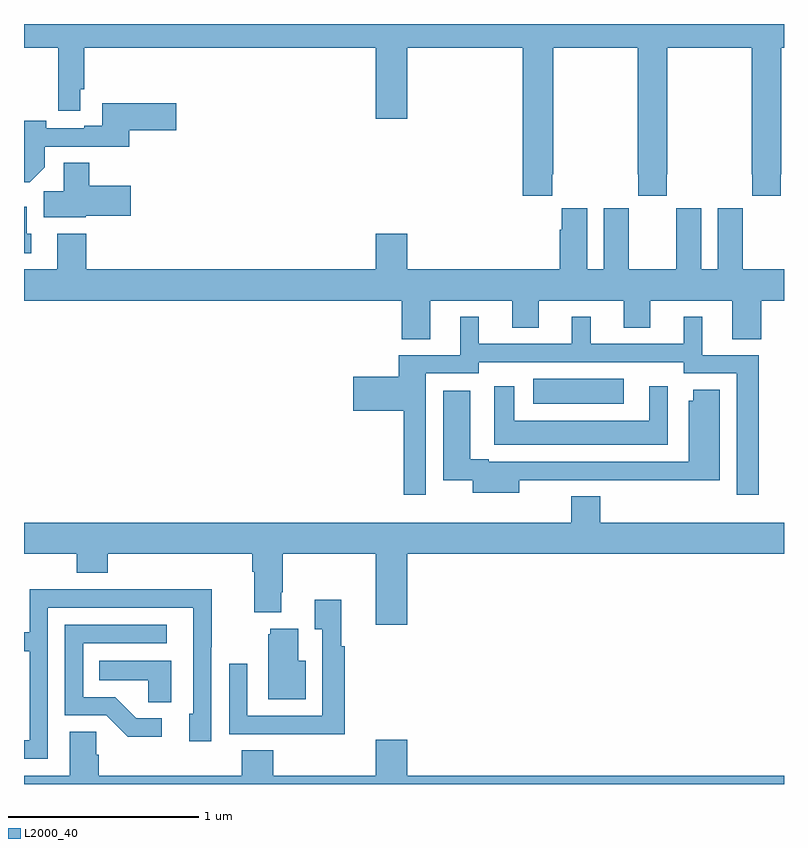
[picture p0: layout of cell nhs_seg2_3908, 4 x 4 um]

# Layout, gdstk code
import gdstk
lib = gdstk.Library(unit=1e-6, precision=1e-09)
def R(c, l, rs):  # rectangles x0, y0, x1, y1
    for r in rs: c.add(gdstk.rectangle(r[:2], r[2:], *l))
def P(c, l, *ps):  # polygons
    for p in ps: c.add(gdstk.Polygon(p, *l))
L2000_40 = (2000, 40)

nhs_seg2_3908 = lib.new_cell('nhs_seg2_3908')
R(nhs_seg2_3908, L2000_40, [(321.681,605.801,322.156,605.932)])
P(nhs_seg2_3908, L2000_40, [(321.779,607.009),(321.786,607.009),(321.786,607.676),(322.231,607.676),(322.231,607.009),(322.233,607.009),(322.233,606.897),(322.383,606.897),(322.383,607.009),(322.386,607.009),(322.386,607.676),(322.831,607.676),(322.831,607.009),(322.833,607.009),(322.833,606.897),(322.983,606.897),(322.983,607.009),(322.986,607.009),(322.986,607.676),(323,607.676),(323,607.8),(319,607.8),(319,607.676),(319.18,607.676),(319.18,607.344),(319.296,607.344),(319.296,607.456),(319.316,607.456),(319.316,607.676),(320.852,607.676),(320.852,607.302),(321.016,607.302),(321.016,607.676),(321.626,607.676),(321.626,606.897),(321.779,606.897)],
  [(319.108,607.046),(319.108,607.155),(319.553,607.155),(319.553,607.241),(319.801,607.241),(319.801,607.383),(319.412,607.383),(319.412,607.264),(319.316,607.264),(319.316,607.251),(319.116,607.251),(319.116,607.29),(319,607.29),(319,606.968),(319.03,606.968)],
  [(319.326,606.791),(319.561,606.791),(319.561,606.949),(319.343,606.949),(319.343,607.069),(319.208,607.069),(319.208,606.92),(319.103,606.92),(319.103,606.782),(319.326,606.782)],
  [(319.039,606.696),(319.015,606.696),(319.015,606.838),(319,606.838),(319,606.594),(319.039,606.594)],
  [(321.016,606.697),(320.852,606.697),(320.852,606.508),(319.328,606.508),(319.328,606.697),(319.175,606.697),(319.175,606.508),(319,606.508),(319,606.344),(320.987,606.344),(320.987,606.142),(321.139,606.142),(321.139,606.344),(321.569,606.344),(321.569,606.202),(321.709,606.202),(321.709,606.344),(322.157,606.344),(322.157,606.202),(322.297,606.202),(322.297,606.344),(322.727,606.344),(322.727,606.142),(322.88,606.142),(322.88,606.344),(323,606.344),(323,606.508),(322.783,606.508),(322.783,606.716),(322.782,606.716),(322.782,606.829),(322.652,606.829),(322.652,606.508),(322.564,606.508),(322.564,606.829),(322.434,606.829),(322.434,606.716),(322.433,606.716),(322.433,606.508),(322.183,606.508),(322.183,606.716),(322.182,606.716),(322.182,606.829),(322.052,606.829),(322.052,606.508),(321.964,606.508),(321.964,606.829),(321.83,606.829),(321.83,606.716),(321.821,606.716),(321.821,606.508),(321.016,606.508)],
  [(321.114,605.961),(321.393,605.961),(321.393,606.021),(322.473,606.021),(322.473,605.961),(322.752,605.961),(322.752,605.322),(322.868,605.322),(322.868,606.057),(322.57,606.057),(322.57,606.259),(322.472,606.259),(322.472,606.117),(321.982,606.117),(321.982,606.259),(321.884,606.259),(321.884,606.117),(321.394,606.117),(321.394,606.259),(321.296,606.259),(321.296,606.057),(320.972,606.057),(320.972,605.943),(320.733,605.943),(320.733,605.765),(320.998,605.765),(320.998,605.322),(321.114,605.322)],
  [(322.389,605.893),(322.292,605.893),(322.292,605.713),(321.58,605.713),(321.58,605.893),(321.476,605.893),(321.476,605.585),(322.389,605.585)],
  [(321.607,605.4),(322.117,605.4),(322.117,605.398),(322.663,605.398),(322.663,605.875),(322.523,605.875),(322.523,605.817),(322.499,605.817),(322.499,605.496),(321.445,605.496),(321.445,605.509),(321.349,605.509),(321.349,605.869),(321.206,605.869),(321.206,605.398),(321.362,605.398),(321.362,605.333),(321.607,605.333)],
  [(321.016,605.012),(323,605.012),(323,605.176),(322.034,605.176),(322.034,605.315),(321.881,605.315),(321.881,605.176),(319,605.176),(319,605.012),(319.277,605.012),(319.277,604.913),(319.442,604.913),(319.442,605.012),(320.201,605.012),(320.201,604.916),(320.213,604.916),(320.213,604.703),(320.353,604.703),(320.353,604.81),(320.361,604.81),(320.361,605.012),(320.852,605.012),(320.852,604.638),(321.016,604.638)],
  [(319.125,604.728),(319.89,604.728),(319.89,604.17),(319.871,604.17),(319.871,604.026),(319.986,604.026),(319.986,604.519),(319.989,604.519),(319.989,604.826),(319.525,604.826),(319.525,604.824),(319.029,604.824),(319.029,604.599),(319,604.599),(319,604.498),(319.029,604.498),(319.029,604.029),(319,604.029),(319,603.933),(319.125,603.933)],
  [(320.687,604.526),(320.669,604.526),(320.669,604.771),(320.531,604.771),(320.531,604.615),(320.571,604.615),(320.571,604.158),(320.175,604.158),(320.175,604.432),(320.079,604.432),(320.079,604.062),(320.395,604.062),(320.395,604.061),(320.687,604.061)],
  [(319.726,604.146),(319.591,604.146),(319.48,604.257),(319.311,604.257),(319.311,604.542),(319.75,604.542),(319.75,604.638),(319.215,604.638),(319.215,604.161),(319.434,604.161),(319.547,604.049),(319.726,604.049)],
  [(320.482,604.45),(320.443,604.45),(320.443,604.618),(320.297,604.618),(320.297,604.587),(320.285,604.587),(320.285,604.247),(320.482,604.247)],
  [(319.774,604.45),(319.396,604.45),(319.396,604.346),(319.653,604.346),(319.653,604.231),(319.774,604.231)],
  [(323,603.844),(321.016,603.844),(321.016,604.033),(320.852,604.033),(320.852,603.844),(320.312,603.844),(320.312,603.977),(320.147,603.977),(320.147,603.844),(319.394,603.844),(319.394,603.953),(319.38,603.953),(319.38,604.076),(319.241,604.076),(319.241,603.844),(319,603.844),(319,603.8),(323,603.8)])

lib.write_gds('nhs_seg2_3908.gds')
